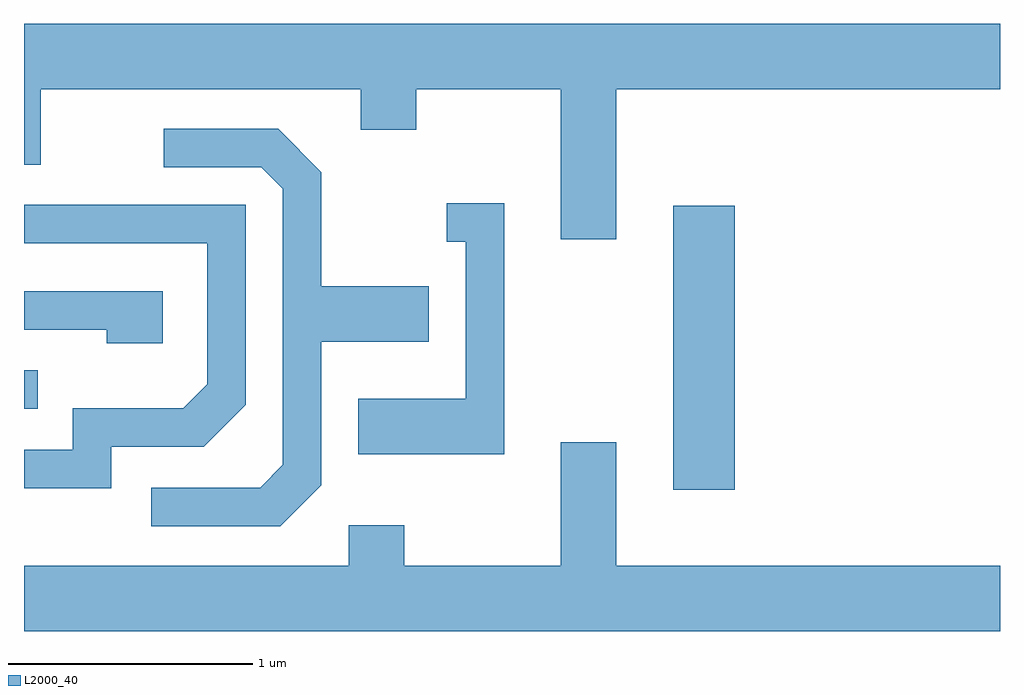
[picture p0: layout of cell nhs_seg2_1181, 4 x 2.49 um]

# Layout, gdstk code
import gdstk
lib = gdstk.Library(unit=1e-6, precision=1e-09)
def R(c, l, rs):  # rectangles x0, y0, x1, y1
    for r in rs: c.add(gdstk.rectangle(r[:2], r[2:], *l))
def P(c, l, *ps):  # polygons
    for p in ps: c.add(gdstk.Polygon(p, *l))
L2000_40 = (2000, 40)

nhs_seg2_1181 = lib.new_cell('nhs_seg2_1181')
R(nhs_seg2_1181, L2000_40, [(222.271,1028.916,222.524,1030.079), (219.611,1029.246,219.668,1029.404)])
P(nhs_seg2_1181, L2000_40, [(222.039,1030.556),(223.611,1030.556),(223.611,1030.824),(219.611,1030.824),(219.611,1030.246),(219.679,1030.246),(219.679,1030.556),(220.991,1030.556),(220.991,1030.391),(221.219,1030.391),(221.219,1030.556),(221.811,1030.556),(221.811,1029.941),(222.039,1029.941)],
  [(220.829,1028.934),(220.829,1029.521),(221.269,1029.521),(221.269,1029.749),(220.829,1029.749),(220.829,1030.217),(220.652,1030.394),(220.183,1030.394),(220.183,1030.236),(220.584,1030.236),(220.671,1030.149),(220.671,1029.017),(220.579,1028.924),(220.133,1028.924),(220.133,1028.766),(220.662,1028.766)],
  [(221.579,1030.089),(221.343,1030.089),(221.343,1029.931),(221.421,1029.931),(221.421,1029.289),(220.981,1029.289),(220.981,1029.061),(221.579,1029.061)],
  [(219.969,1029.091),(220.347,1029.091),(220.519,1029.264),(220.519,1030.084),(219.611,1030.084),(219.611,1029.926),(220.361,1029.926),(220.361,1029.347),(220.264,1029.249),(219.811,1029.249),(219.811,1029.079),(219.611,1029.079),(219.611,1028.921),(219.969,1028.921)],
  [(220.179,1029.729),(219.611,1029.729),(219.611,1029.571),(219.951,1029.571),(219.951,1029.516),(220.179,1029.516)],
  [(223.611,1028.604),(222.039,1028.604),(222.039,1029.109),(221.811,1029.109),(221.811,1028.604),(221.169,1028.604),(221.169,1028.769),(220.941,1028.769),(220.941,1028.604),(219.611,1028.604),(219.611,1028.336),(223.611,1028.336)])

lib.write_gds('nhs_seg2_1181.gds')
